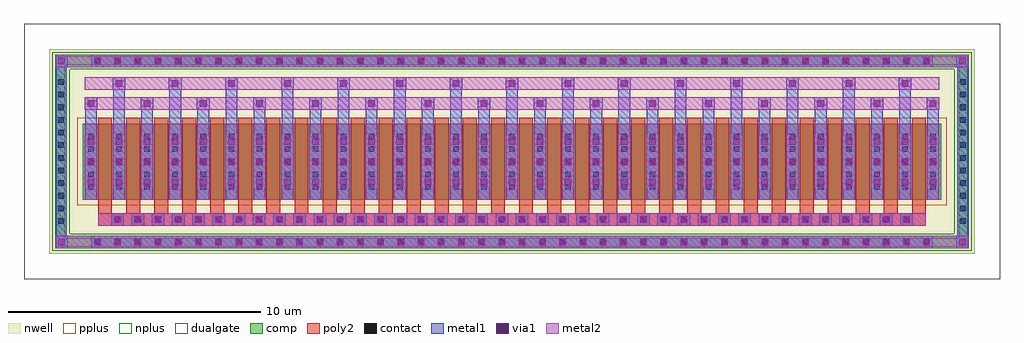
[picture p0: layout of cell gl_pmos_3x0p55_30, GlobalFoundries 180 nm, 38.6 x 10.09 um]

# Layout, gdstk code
import gdstk
lib = gdstk.Library(unit=1e-6, precision=1e-09)
def R(c, l, rs):  # rectangles x0, y0, x1, y1
    for r in rs: c.add(gdstk.rectangle(r[:2], r[2:], *l))
def A(c, l, x, y, w, h, nx, ny, dx, dy):  # array of equal rectangles
    R(c, l, [(x+i*dx, y+j*dy, x+i*dx+w, y+j*dy+h) for i in range(nx) for j in range(ny)])
def P(c, l, *ps):  # polygons
    for p in ps: c.add(gdstk.Polygon(p, *l))
nwell = (21, 0)
comp = (22, 0)
poly2 = (30, 0)
pplus = (31, 0)
nplus = (32, 0)
contact = (33, 0)
metal1 = (34, 0)
via1 = (35, 0)
metal2 = (36, 0)
dualgate = (55, 0)

gl_pmos_3x0p55_30 = lib.new_cell('gl_pmos_3x0p55_30')
R(gl_pmos_3x0p55_30, nwell, [(-18.3,-4.045,18.3,4.045), (-18.14,-3.885,18.14,3.885)])
A(gl_pmos_3x0p55_30, comp, -16.58, -3.765, 0.36, 0.36, 42, 2, 0.8, 7.17)
A(gl_pmos_3x0p55_30, comp, -18.02, -2.93, 0.36, 0.36, 1, 12, 0, 0.5)
A(gl_pmos_3x0p55_30, comp, 17.66, -2.93, 0.36, 0.36, 1, 12, 0, 0.5)
R(gl_pmos_3x0p55_30, comp, [(-16.58,-3.765,16.58,-3.405), (-18.02,-2.93,-17.66,2.93), (17.66,-2.93,18.02,2.93), (-16.97,-1.905,16.97,1.095), (-16.58,3.405,16.58,3.765)])
P(gl_pmos_3x0p55_30, comp, [(-18.02,-3.765),(-18.02,-3.405),(-17.66,-3.405),(17.66,-3.405),(17.66,3.405),(-17.66,3.405),(-17.66,-3.405),(-18.02,-3.405),(-18.02,3.765),(18.02,3.765),(18.02,-3.765)])
A(gl_pmos_3x0p55_30, poly2, -15.78, -2.875, 0.36, 0.36, 40, 1, 0.8, 0)
A(gl_pmos_3x0p55_30, poly2, -16.37, -2.445, 0.55, 0.3, 30, 1, 1.11, 0)
A(gl_pmos_3x0p55_30, poly2, -16.37, -2.145, 0.55, 3.48, 30, 1, 1.11, 0)
R(gl_pmos_3x0p55_30, poly2, [(-16.37,-2.945,16.37,-2.445)])
R(gl_pmos_3x0p55_30, pplus, [(-17.2,-2.135,17.2,1.325)])
P(gl_pmos_3x0p55_30, nplus, [(-18.18,-3.925),(-18.18,-3.245),(-17.5,-3.245),(17.5,-3.245),(17.5,3.245),(-17.5,3.245),(-17.5,-3.245),(-18.18,-3.245),(-18.18,3.925),(18.18,3.925),(18.18,-3.925)])
A(gl_pmos_3x0p55_30, contact, -16.51, -3.695, 0.22, 0.22, 42, 2, 0.8, 7.17)
A(gl_pmos_3x0p55_30, contact, -17.95, -2.86, 0.22, 0.22, 1, 12, 0, 0.5)
A(gl_pmos_3x0p55_30, contact, 17.73, -2.86, 0.22, 0.22, 1, 12, 0, 0.5)
A(gl_pmos_3x0p55_30, contact, -15.71, -2.805, 0.22, 0.22, 40, 1, 0.8, 0)
A(gl_pmos_3x0p55_30, contact, -16.76, -1.515, 0.22, 0.22, 31, 5, 1.11, 0.5)
A(gl_pmos_3x0p55_30, metal1, -16.65, -3.835, 0.5, 0.5, 42, 2, 0.8, 7.17)
A(gl_pmos_3x0p55_30, metal1, -18.07, -2.98, 0.46, 0.46, 1, 12, 0, 0.5)
A(gl_pmos_3x0p55_30, metal1, 17.61, -2.98, 0.46, 0.46, 1, 12, 0, 0.5)
A(gl_pmos_3x0p55_30, metal1, -15.85, -2.945, 0.5, 0.5, 40, 1, 0.8, 0)
A(gl_pmos_3x0p55_30, metal1, -16.88, -1.905, 0.46, 3, 31, 1, 1.11, 0)
A(gl_pmos_3x0p55_30, metal1, -16.88, -1.635, 0.46, 0.46, 31, 5, 1.11, 0.5)
A(gl_pmos_3x0p55_30, metal1, -16.9, -1.455, 0.5, 0.5, 31, 3, 1.11, 0.8)
A(gl_pmos_3x0p55_30, metal1, -16.9, -1.455, 0.5, 2.1, 31, 1, 1.11, 0)
A(gl_pmos_3x0p55_30, metal1, -16.88, 1.095, 0.46, 1.05, 16, 1, 2.22, 0)
A(gl_pmos_3x0p55_30, metal1, -15.77, 1.095, 0.46, 1.85, 15, 1, 2.22, 0)
A(gl_pmos_3x0p55_30, metal1, -16.9, 1.645, 0.5, 0.5, 16, 1, 2.22, 0)
A(gl_pmos_3x0p55_30, metal1, -15.79, 2.445, 0.5, 0.5, 15, 1, 2.22, 0)
R(gl_pmos_3x0p55_30, metal1, [(-18.07,-3.835,-17.57,-3.335), (-18.07,-3.835,-17.57,-3.335), (-18.07,-3.835,-17.61,-3.405), (-16.65,-3.835,16.65,-3.335), (17.57,-3.835,18.07,-3.335), (17.57,-3.835,18.07,-3.335), (17.61,-3.835,18.07,-3.405), (-18.07,-3.405,-17.61,3.405), (17.61,-3.405,18.07,3.405), (-18.07,3.335,-17.57,3.835), (-18.07,3.335,-17.57,3.835), (-16.65,3.335,16.65,3.835), (17.57,3.335,18.07,3.835), (17.57,3.335,18.07,3.835), (-18.07,3.405,-17.61,3.835), (17.61,3.405,18.07,3.835)])
A(gl_pmos_3x0p55_30, via1, -16.53, -3.715, 0.26, 0.26, 42, 2, 0.8, 7.17)
A(gl_pmos_3x0p55_30, via1, -15.73, -2.825, 0.26, 0.26, 40, 1, 0.8, 0)
A(gl_pmos_3x0p55_30, via1, -16.78, -1.335, 0.26, 0.26, 31, 3, 1.11, 0.8)
A(gl_pmos_3x0p55_30, via1, -16.78, 1.765, 0.26, 0.26, 16, 1, 2.22, 0)
A(gl_pmos_3x0p55_30, via1, -15.67, 2.565, 0.26, 0.26, 15, 1, 2.22, 0)
R(gl_pmos_3x0p55_30, via1, [(-17.95,-3.715,-17.69,-3.455), (17.69,-3.715,17.95,-3.455), (-17.95,3.455,-17.69,3.715), (17.69,3.455,17.95,3.715)])
A(gl_pmos_3x0p55_30, metal2, -16.65, -3.835, 0.5, 0.5, 42, 2, 0.8, 7.17)
A(gl_pmos_3x0p55_30, metal2, -15.85, -2.945, 0.5, 0.5, 40, 1, 0.8, 0)
A(gl_pmos_3x0p55_30, metal2, -16.9, -1.905, 0.5, 3, 31, 1, 1.11, 0)
A(gl_pmos_3x0p55_30, metal2, -16.9, -1.455, 0.5, 0.5, 31, 3, 1.11, 0.8)
A(gl_pmos_3x0p55_30, metal2, -16.9, 1.645, 0.5, 0.5, 16, 1, 2.22, 0)
A(gl_pmos_3x0p55_30, metal2, -15.79, 2.445, 0.5, 0.5, 15, 1, 2.22, 0)
R(gl_pmos_3x0p55_30, metal2, [(-18.07,-3.835,-17.57,-3.335), (-18.07,-3.835,-17.57,-3.335), (-18.07,-3.835,-17.66,-3.335), (-17.66,-3.835,17.66,-3.335), (17.57,-3.835,18.07,-3.335), (17.57,-3.835,18.07,-3.335), (17.66,-3.835,18.07,-3.335), (-16.37,-2.945,16.37,-2.445), (-16.9,1.645,16.9,2.145), (-16.9,2.445,16.9,2.945), (-18.07,3.335,-17.57,3.835), (-18.07,3.335,-17.57,3.835), (-18.07,3.335,-17.66,3.835), (-17.66,3.335,17.66,3.835), (17.57,3.335,18.07,3.835), (17.57,3.335,18.07,3.835), (17.66,3.335,18.07,3.835)])
R(gl_pmos_3x0p55_30, dualgate, [(-19.3,-5.045,19.3,5.045)])

lib.write_gds('gl_pmos_3x0p55_30.gds')
